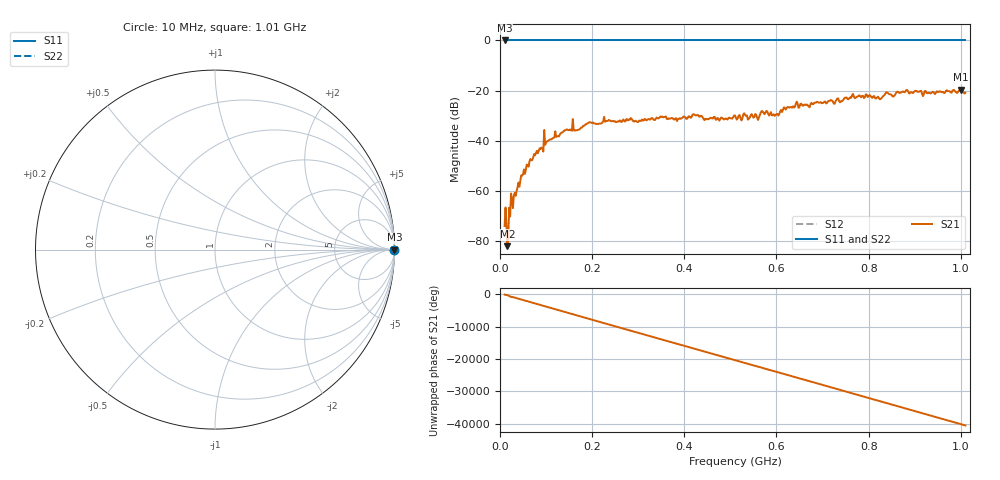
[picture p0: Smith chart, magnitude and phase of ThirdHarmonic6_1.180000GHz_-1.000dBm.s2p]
! 8/16/2025 12:02:42 PM
! C:\ANRITSUVNA\TEMP\TEMP.S2P
! CHANNEL.1
! TR.MEASUREMENT
! RAW.DATA
! RF.CORRECTION.OFF
! AVERAGING.OFF
! IF.BANDWIDTH: 5KHZ
! SWEEPTYPE:  FREQ.SWEEP(Linear)
! Reference Plane Port Info
! PORT:  PORT1  PORT2
! DISTANCE:  0  m  0  m
! TIME:  0  s  0  s
! PHASE.OFFSET:  0  deg.  0  deg.
! LOSS:  0  dB  0  dB
! REF.LOSS:  0  dB  0  dB
! REF.FREQ:  0  Hz  0  Hz
! Power Info
! POWER:  -20  dBm  -20  dBm
! EFF.POWER:  -20  dBm  -20  dBm
! SOURCE.ATTEN:  0  dB  0  dB
! TEST.ATTEN:  0  dB  0  dB
# GHZ S RI R 50.0
! FREQ.GHZ  S11RE  S11IM  S21RE  S21IM  S12RE  S12IM  S22RE  S22IM
!; PortSelection: Port_12
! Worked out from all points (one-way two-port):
!   501 points, 10 MHz to 1.01 GHz, reference 50 ohm
!   highest |S21| = -19.63 dB at 1 GHz (marker M1); lowest = -82.0 dB at 16 MHz (marker M2)
!   lowest |S11| = 0.0 dB at 10 MHz (marker M3)
!   |S11| at or under -10 dB: nowhere
!   |S22| runs from 0.0 to 0.0 dB; largest |S21 - S12| = 1.1
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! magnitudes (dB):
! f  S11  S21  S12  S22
! 10 MHz  0.0  -74.0  0.0  0.0
! 14 MHz  0.0  -73.4  0.0  0.0
! 16 MHz  0.0  -82.0  0.0  0.0
! 18 MHz  0.0  -77.8  0.0  0.0
! 24 MHz  0.0  -61.0  0.0  0.0
! 28 MHz  0.0  -66.9  0.0  0.0
! 32 MHz  0.0  -60.8  0.0  0.0
! 48 MHz  0.0  -54.0  0.0  0.0
! 76 MHz  0.0  -45.8  0.0  0.0
! 100 MHz  0.0  -40.7  0.0  0.0
! 178 MHz  0.0  -34.7  0.0  0.0
! 228 MHz  0.0  -32.4  0.0  0.0
! 344 MHz  0.0  -31.1  0.0  0.0
! 510 MHz  0.0  -29.9  0.0  0.0
! 600 MHz  0.0  -29.4  0.0  0.0
! 642 MHz  0.0  -25.3  0.0  0.0
! 678 MHz  0.0  -25.3  0.0  0.0
! 764 MHz  0.0  -22.0  0.0  0.0
! 826 MHz  0.0  -23.4  0.0  0.0
! 844 MHz  0.0  -21.4  0.0  0.0
! 1 GHz  0.0  -19.6  0.0  0.0
! 1.01 GHz  0.0  -20.9  0.0  0.0
